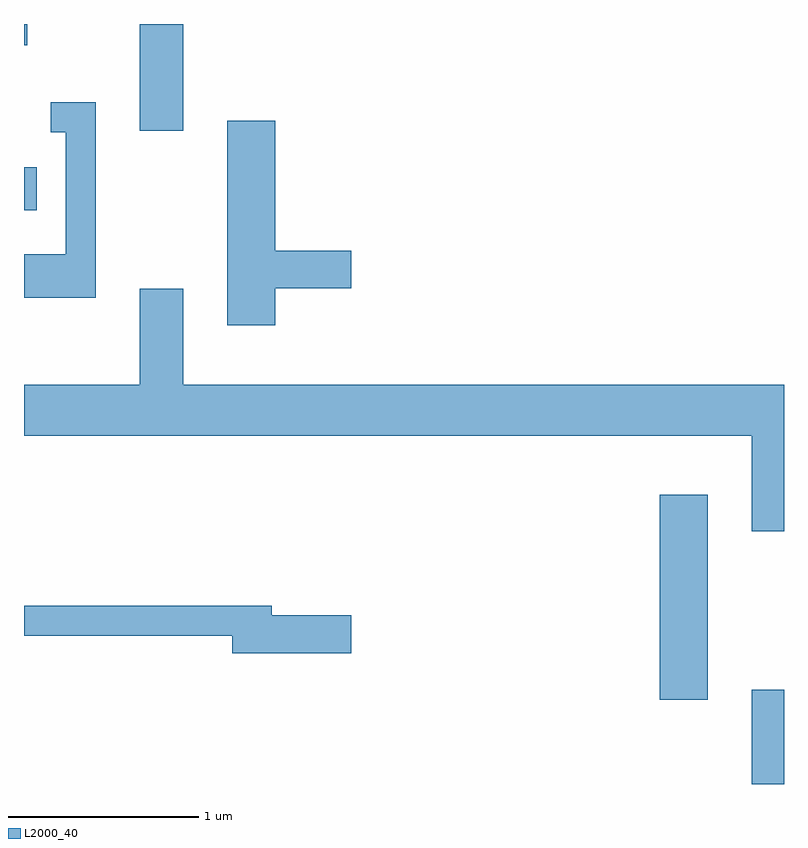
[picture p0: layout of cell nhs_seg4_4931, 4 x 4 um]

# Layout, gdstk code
import gdstk
lib = gdstk.Library(unit=1e-6, precision=1e-09)
def R(c, l, rs):  # rectangles x0, y0, x1, y1
    for r in rs: c.add(gdstk.rectangle(r[:2], r[2:], *l))
def P(c, l, *ps):  # polygons
    for p in ps: c.add(gdstk.Polygon(p, *l))
L2000_40 = (2000, 40)

nhs_seg4_4931 = lib.new_cell('nhs_seg4_4931')
R(nhs_seg4_4931, L2000_40, [(333.441,1323.982,333.611,1324.479), (332.956,1324.426,333.209,1325.504), (329.611,1327.001,329.679,1327.229), (330.221,1327.421,330.449,1327.982), (329.611,1327.871,329.629,1327.982)])
P(nhs_seg4_4931, L2000_40, [(329.989,1327.569),(329.753,1327.569),(329.753,1327.411),(329.831,1327.411),(329.831,1326.769),(329.611,1326.769),(329.611,1326.541),(329.989,1326.541)],
  [(330.934,1326.591),(331.334,1326.591),(331.334,1326.789),(330.934,1326.789),(330.934,1327.474),(330.681,1327.474),(330.681,1326.396),(330.934,1326.396)],
  [(333.611,1326.084),(330.449,1326.084),(330.449,1326.589),(330.221,1326.589),(330.221,1326.084),(329.611,1326.084),(329.611,1325.816),(333.441,1325.816),(333.441,1325.311),(333.611,1325.311)],
  [(331.334,1324.869),(330.914,1324.869),(330.914,1324.919),(329.611,1324.919),(329.611,1324.761),(330.706,1324.761),(330.706,1324.671),(331.334,1324.671)])

lib.write_gds('nhs_seg4_4931.gds')
